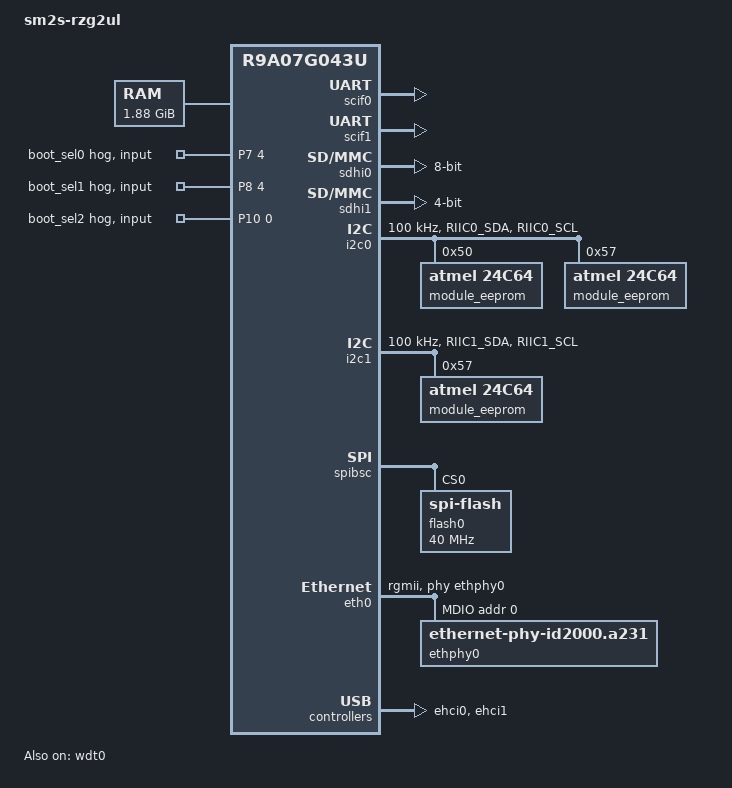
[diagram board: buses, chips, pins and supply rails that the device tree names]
// SPDX-License-Identifier: GPL-2.0
/*
 * Device Tree Source for the Avnet sm2s-rzg2ul board
 *
 * Copyright (C) 2022-23 AVNET Embedded, MSC Technologies GmbH
 */

/dts-v1/;
#include <dt-bindings/gpio/gpio.h>
#include "r9a07g043u11.dtsi"
#include "r9a07g043u11-u-boot.dtsi"
#include <dt-bindings/pinctrl/rzg2l-pinctrl.h>
#include <dt-bindings/net/ti-dp83867.h>

/ {
	model = "sm2s-rzg2ul";
	compatible = "renesas,r9a07g043u", "renesas,rzg2ul";

	aliases {
		serial0 = &scif0;
		serial1 = &scif1;
		spi0 = &spibsc;
	};

	chosen {
		stdout-path = "serial1:115200n8";
	};

	memory@48000000 {
		device_type = "memory";
		/* first 128MB is reserved for secure area. */
		reg = <0 0x48000000 0 0x78000000>;
	};
};

&soc {
	/delete-node/ ethernet@11c30000;
};

&P7 {
	boot_sel0 {
	        gpio-hog;
	        gpios = <4 GPIO_ACTIVE_HIGH>;
	        input;
	        line-name = "boot_sel0";
	};
};

&P8 {
	boot_sel1 {
	        gpio-hog;
	        gpios = <4 GPIO_ACTIVE_HIGH>;
	        input;
	        line-name = "boot_sel1";
	};
};

&P10 {
	boot_sel2 {
	        gpio-hog;
	        gpios = <0 GPIO_ACTIVE_HIGH>;
	        input;
	        line-name = "boot_sel2";
	};
};

&pinctrl {
	i2c0_pins: i2c0 {
		pins = "RIIC0_SDA", "RIIC0_SCL";
		input-enable;
	};

	i2c1_pins: i2c1 {
		pins = "RIIC1_SDA", "RIIC1_SCL";
		input-enable;
	};

	scif1_pins: scif1 {
		pinmux = <RZG2L_PINMUX(8, 0, 3)>, /* SCIF1_RXD */
			<RZG2L_PINMUX(8, 1, 3)>;/*SCIF1_TXD*/
	};

	eth0_pins: eth0 {
                pinmux = <RZG2L_PINMUX(4, 3, 1)>, /* ET0_MDC */
                         <RZG2L_PINMUX(4, 4, 1)>, /* ET0_MDIO */
                         <RZG2L_PINMUX(1, 0, 1)>, /* ET0_TXC */
                         <RZG2L_PINMUX(1, 1, 1)>, /* ET0_TX_CTL */
                         <RZG2L_PINMUX(1, 2, 1)>, /* ET0_TXD0 */
                         <RZG2L_PINMUX(1, 3, 1)>, /* ET0_TXD1 */
                         <RZG2L_PINMUX(1, 4, 1)>, /* ET0_TXD2 */
                         <RZG2L_PINMUX(2, 0, 1)>, /* ET0_TXD3 */
                         <RZG2L_PINMUX(3, 0, 1)>, /* ET0_RXC */
                         <RZG2L_PINMUX(3, 1, 1)>, /* ET0_RX_CTL */
                         <RZG2L_PINMUX(3, 2, 1)>, /* ET0_RXD0 */
                         <RZG2L_PINMUX(3, 3, 1)>, /* ET0_RXD1 */
                         <RZG2L_PINMUX(4, 0, 1)>, /* ET0_RXD2 */
                         <RZG2L_PINMUX(4, 1, 1)>; /* ET0_RXD3 */
        };
};

&xinclk {
        clock-frequency = <24000000>;
};

&scif0 {
	status = "okay";
	clock = <100000000>;
};

&scif1 {
	status = "okay";
	clock = <100000000>;
	pinctrl-0 = <&scif1_pins>;
	pinctrl-names = "default";
};

&sdhi0 {
	bus-width = <8>;
	status = "okay";
	/* This is used for interface that support both eMMC and SD in board */
	mutual-channel;
};

&sdhi1 {
	/* pinctrl placeholder
	 * A power enable pin (SD1_PWR_EN) must be defined to interface with a
	 * SD card.
	 * The SD1_PWR_EN pin is associated with P0_3.
	 * A HIGH signal on SD1_PWR_EN will enable supply voltage for SD card.
	*/
	bus-width = <4>;
	status = "okay";
};

&i2c0 {
	status = "okay";

	pinctrl-0 = <&i2c0_pins>;
	pinctrl-names = "default";
	clock-frequency = <100000>;

	module_eeprom@50 {
		compatible = "atmel,24c64";
		reg = <0x50>;
		pagesize = <32>;
	};

	module_eeprom@57 {
		compatible = "atmel,24c64";
		reg = <0x57>;
		pagesize = <32>;
	};
};

&i2c1 {
	pinctrl-0 = <&i2c1_pins>;
	pinctrl-names = "default";
	clock-frequency = <100000>;
	status = "okay";
	module_eeprom@57 {
		compatible = "atmel,24c64";
		reg = <0x57>;
		pagesize = <32>;
	};
};

&spibsc {
        num-cs = <1>;
        status = "okay";
        spi-max-frequency = <40000000>;
        #address-cells = <1>;
        #size-cells = <0>;
        flash0: spi-flash@0 {
                #address-cells = <1>;
                #size-cells = <1>;
                compatible = "spi-flash", "jedec,spi-nor";
                spi-max-frequency = <40000000>;
                spi-tx-bus-width = <1>;
                spi-rx-bus-width = <1>;
                reg = <0>;
                status = "okay";
        };
};

&eth0 {
        pinctrl-0 = <&eth0_pins>;
        pinctrl-names = "default";
        phy-handle = <&ethphy0>;
        phy-mode = "rgmii";
        status = "okay";
	
	mdio {
                #address-cells = <1>;
                #size-cells = <0>;

                ethphy0: ethernet-phy@0 {
                        compatible = "ethernet-phy-id2000.a231";
                        reg = <0x0>;
                        ti,rx-internal-delay = <DP83867_RGMIIDCTL_2_00_NS>;
                        ti,tx-internal-delay = <DP83867_RGMIIDCTL_2_00_NS>;
                        ti,fifo-depth = <DP83867_PHYCR_FIFO_DEPTH_4_B_NIB>;
			ti,clk-output-sel = <DP83867_CLK_O_SEL_OFF>;
			ti,min-output-impedance;
                };
        };
};

&ehci0 {
	status = "okay";
};

&ehci1 {
	status = "okay";
};

&wdt0 {
	status = "okay";
	timeout-sec = <60>;
};
